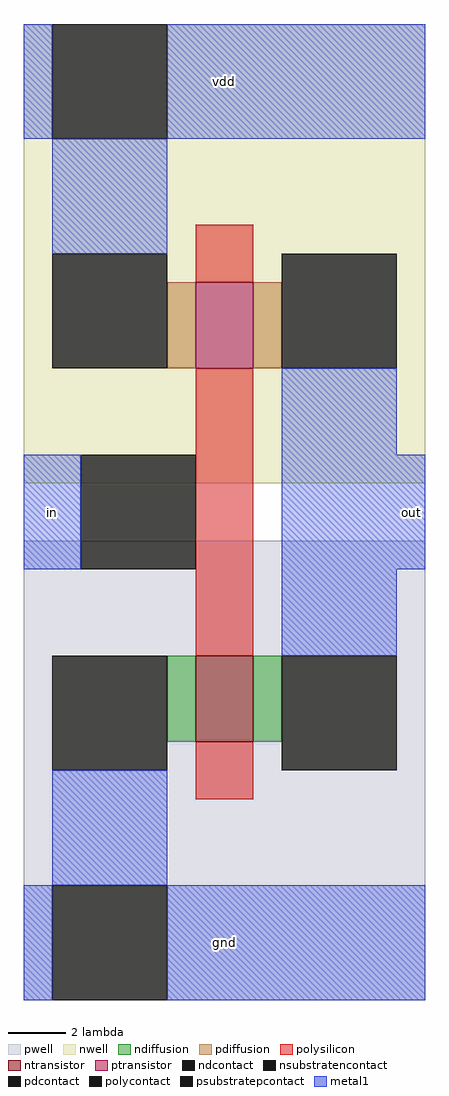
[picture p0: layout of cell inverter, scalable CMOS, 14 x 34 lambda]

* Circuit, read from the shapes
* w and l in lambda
.subckt inverter gnd in out vdd
M1 out in gnd gnd nfet w=3 l=2
M2 out in vdd vdd pfet w=3 l=2
.ends

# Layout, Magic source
magic
tech scmos
<< pwell >>
rect -8 -16 6 0
<< nwell >>
rect -8 2 6 18
<< polysilicon >>
rect -2 9 0 11
rect -2 -4 0 6
rect -2 -9 0 -7
<< ndiffusion >>
rect -3 -7 -2 -4
rect 0 -7 1 -4
<< pdiffusion >>
rect -3 6 -2 9
rect 0 6 1 9
<< metal1 >>
rect -8 14 -7 18
rect -3 14 6 18
rect -7 10 -3 14
rect 1 3 5 6
rect -8 -1 -6 3
rect 1 -1 6 3
rect 1 -4 5 -1
rect -7 -12 -3 -8
rect -8 -16 -7 -12
rect -3 -16 6 -12
<< ntransistor >>
rect -2 -7 0 -4
<< ptransistor >>
rect -2 6 0 9
<< polycontact >>
rect -6 -1 -2 3
<< ndcontact >>
rect -7 -8 -3 -4
rect 1 -8 5 -4
<< pdcontact >>
rect -7 6 -3 10
rect 1 6 5 10
<< psubstratepcontact >>
rect -7 -16 -3 -12
<< nsubstratencontact >>
rect -7 14 -3 18
<< labels >>
rlabel metal1 -8 -1 -6 3 7 in
rlabel metal1 5 -1 6 3 3 out
rlabel nwell -8 14 6 18 1 vdd
rlabel pwell -8 -16 6 -12 5 gnd
<< end >>
